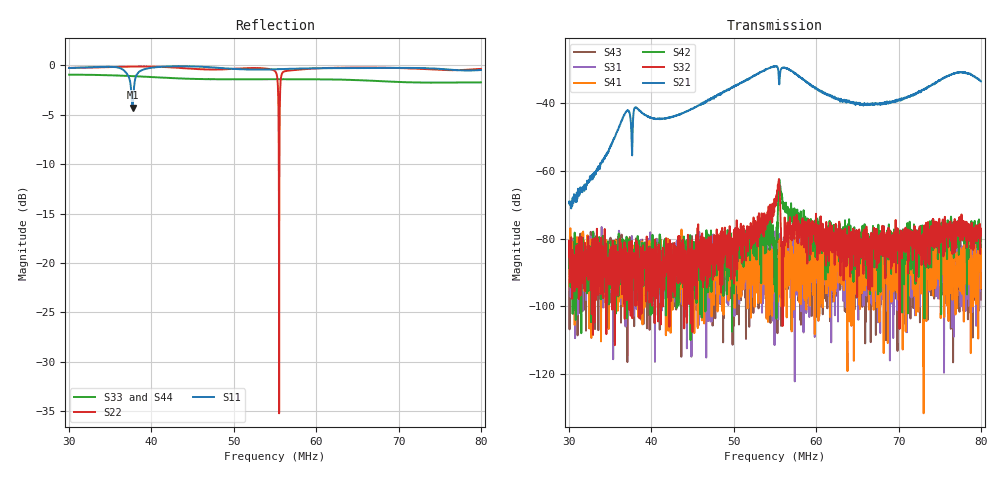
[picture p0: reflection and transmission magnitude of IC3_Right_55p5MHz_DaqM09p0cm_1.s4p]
#  HZ  S  DB  R  50.00
! Rohde & Schwarz Vector Network Analyzer
! Rohde-Schwarz,ZNB8-4Port,1311601044102961,2.82
! Created: UTC 2/13/2019, 2:20:23 PM
! freq[Hz]  db:S11  ang:S11  db:S12  ang:S12  db:S13  ang:S13  db:S14  ang:S14
!  db:S21  ang:S21  db:S22  ang:S22  db:S23  ang:S23  db:S24  ang:S24
!  db:S31  ang:S31  db:S32  ang:S32  db:S33  ang:S33  db:S34  ang:S34
!  db:S41  ang:S41  db:S42  ang:S42  db:S43  ang:S43  db:S44  ang:S44
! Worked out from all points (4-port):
!   2001 points, 30 MHz to 80 MHz, reference 50 ohm
!   strongest paths, dB at 30 MHz, 42.5 MHz, 55 MHz, 67.5 MHz, 80 MHz:
!     S21: -69.4, -44.0, -29.1, -40.0, -33.6
!     S32: -85.5, -86.9, -70.5, -79.6, -79.1
!     S42: -85.0, -86.4, -80.7, -82.3, -80.5
!     S41: -85.2, -92.5, -87.4, -84.0, -94.7
!     S31: -91.7, -85.4, -102.2, -104.7, -89.7
!     S43: -89.0, -83.1, -85.6, -88.9, -98.0
!   lowest |S11| = -4.3 dB at 37.7 MHz (marker M1), VSWR 4.15, Z = 106 - j97.6 ohm
!   |S11| at or under -10 dB: nowhere
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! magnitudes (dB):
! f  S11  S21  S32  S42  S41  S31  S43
! 30 MHz  -0.3  -69.4  -85.5  -85.0  -85.2  -91.7  -89.0
! 37.7 MHz  -4.3  -49.7  -85.4  -88.3  -87.5  -91.2  -86.6
! 54.92 MHz  -0.4  -29.1  -69.0  -82.6  -83.3  -81.4  -86.6
! 55.62 MHz  -0.4  -31.1  -70.4  -64.6  -85.0  -87.4  -85.1
! 55.98 MHz  -0.4  -29.5  -85.3  -71.2  -84.1  -91.8  -83.3
! 61.1 MHz  -0.3  -37.2  -80.9  -79.7  -85.0  -93.5  -83.7
! 80 MHz  -0.5  -33.6  -79.1  -80.5  -94.7  -89.7  -98.0
